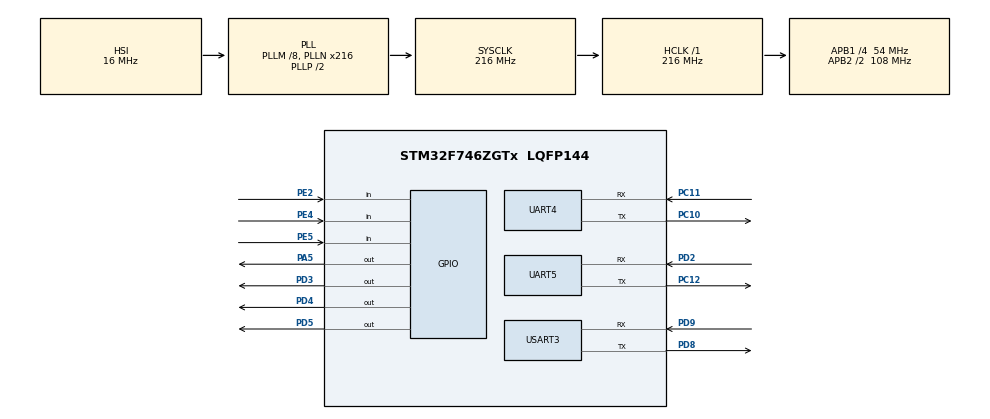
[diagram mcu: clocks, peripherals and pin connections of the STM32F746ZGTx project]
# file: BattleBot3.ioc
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CORTEX_M7.default_mode_Activation=1
Dma.Request0=USART3_RX
Dma.Request1=USART3_TX
Dma.Request2=UART5_RX
Dma.Request3=UART5_TX
Dma.Request4=UART4_RX
Dma.UART4_RX.4.Direction=DMA_PERIPH_TO_MEMORY
Dma.UART4_RX.4.FIFOMode=DMA_FIFOMODE_DISABLE
Dma.UART4_RX.4.Instance=DMA1_Stream2
Dma.UART4_RX.4.MemDataAlignment=DMA_MDATAALIGN_BYTE
Dma.UART4_RX.4.MemInc=DMA_MINC_ENABLE
Dma.UART4_RX.4.Mode=DMA_CIRCULAR
Dma.UART4_RX.4.PeriphDataAlignment=DMA_PDATAALIGN_BYTE
Dma.UART4_RX.4.PeriphInc=DMA_PINC_DISABLE
Dma.UART4_RX.4.Priority=DMA_PRIORITY_LOW
Dma.UART5_RX.2.Direction=DMA_PERIPH_TO_MEMORY
Dma.UART5_RX.2.FIFOMode=DMA_FIFOMODE_DISABLE
Dma.UART5_RX.2.Instance=DMA1_Stream0
Dma.UART5_RX.2.MemDataAlignment=DMA_MDATAALIGN_BYTE
Dma.UART5_RX.2.MemInc=DMA_MINC_ENABLE
Dma.UART5_RX.2.Mode=DMA_CIRCULAR
Dma.UART5_RX.2.PeriphDataAlignment=DMA_PDATAALIGN_BYTE
Dma.UART5_RX.2.PeriphInc=DMA_PINC_DISABLE
Dma.UART5_RX.2.Priority=DMA_PRIORITY_LOW
Dma.UART5_TX.3.Direction=DMA_MEMORY_TO_PERIPH
Dma.UART5_TX.3.FIFOMode=DMA_FIFOMODE_DISABLE
Dma.UART5_TX.3.Instance=DMA1_Stream7
Dma.UART5_TX.3.MemDataAlignment=DMA_MDATAALIGN_BYTE
Dma.UART5_TX.3.MemInc=DMA_MINC_ENABLE
Dma.UART5_TX.3.Mode=DMA_NORMAL
Dma.UART5_TX.3.PeriphDataAlignment=DMA_PDATAALIGN_BYTE
Dma.UART5_TX.3.PeriphInc=DMA_PINC_DISABLE
Dma.UART5_TX.3.Priority=DMA_PRIORITY_LOW
Dma.USART3_RX.0.Direction=DMA_PERIPH_TO_MEMORY
Dma.USART3_RX.0.FIFOMode=DMA_FIFOMODE_DISABLE
Dma.USART3_RX.0.Instance=DMA1_Stream1
Dma.USART3_RX.0.MemDataAlignment=DMA_MDATAALIGN_BYTE
Dma.USART3_RX.0.MemInc=DMA_MINC_ENABLE
Dma.USART3_RX.0.Mode=DMA_CIRCULAR
Dma.USART3_RX.0.PeriphDataAlignment=DMA_PDATAALIGN_BYTE
Dma.USART3_RX.0.PeriphInc=DMA_PINC_DISABLE
Dma.USART3_RX.0.Priority=DMA_PRIORITY_LOW
Dma.USART3_TX.1.Direction=DMA_MEMORY_TO_PERIPH
Dma.USART3_TX.1.FIFOMode=DMA_FIFOMODE_DISABLE
Dma.USART3_TX.1.Instance=DMA1_Stream4
Dma.USART3_TX.1.MemDataAlignment=DMA_MDATAALIGN_BYTE
Dma.USART3_TX.1.MemInc=DMA_MINC_ENABLE
Dma.USART3_TX.1.Mode=DMA_NORMAL
Dma.USART3_TX.1.PeriphDataAlignment=DMA_PDATAALIGN_BYTE
Dma.USART3_TX.1.PeriphInc=DMA_PINC_DISABLE
Dma.USART3_TX.1.Priority=DMA_PRIORITY_LOW
Mcu.Family=STM32F7
Mcu.Name=STM32F746ZGTx
Mcu.Package=LQFP144
NVIC.DMA1_Stream0_IRQn=true\:0\:0\:false\:false\:true\:false\:true\:true
NVIC.DMA1_Stream1_IRQn=true\:0\:0\:false\:false\:true\:false\:true\:true
NVIC.DMA1_Stream2_IRQn=true\:0\:0\:false\:false\:true\:false\:true\:true
NVIC.DMA1_Stream4_IRQn=true\:0\:0\:false\:false\:true\:false\:true\:true
NVIC.DMA1_Stream7_IRQn=true\:0\:0\:false\:false\:true\:false\:true\:true
NVIC.PriorityGroup=NVIC_PRIORITYGROUP_4
NVIC.UART4_IRQn=true\:0\:0\:false\:false\:true\:true\:true\:true
NVIC.UART5_IRQn=true\:0\:0\:false\:false\:true\:true\:true\:true
NVIC.USART3_IRQn=true\:0\:0\:false\:false\:true\:true\:true\:true
PA5.Signal=GPIO_Output
PC10.Mode=Asynchronous
PC10.Signal=UART4_TX
PC11.Mode=Asynchronous
PC11.Signal=UART4_RX
PC12.Mode=Asynchronous
PC12.Signal=UART5_TX
PD2.Mode=Asynchronous
PD2.Signal=UART5_RX
PD3.Signal=GPIO_Output
PD4.Signal=GPIO_Output
PD5.Signal=GPIO_Output
PD8.Mode=Asynchronous
PD8.Signal=USART3_TX
PD9.Mode=Asynchronous
PD9.Signal=USART3_RX
PE2.GPIO_PuPd=GPIO_PULLDOWN
PE2.Signal=GPIO_Input
PE4.GPIO_PuPd=GPIO_PULLDOWN
PE4.Signal=GPIO_Input
PE5.GPIO_PuPd=GPIO_PULLDOWN
PE5.Signal=GPIO_Input
ProjectManager.HeapSize=0x200
ProjectManager.StackSize=0x400
ProjectManager.TargetToolchain=STM32CubeIDE
RCC.AHBFreq_Value=216000000
RCC.APB1CLKDivider=RCC_HCLK_DIV4
RCC.APB1Freq_Value=54000000
RCC.APB1TimFreq_Value=108000000
RCC.APB2CLKDivider=RCC_HCLK_DIV2
RCC.APB2Freq_Value=108000000
RCC.APB2TimFreq_Value=216000000
RCC.CortexFreq_Value=27000000
RCC.Cortex_Div=SYSTICK_CLKSOURCE_HCLK_DIV8
RCC.HCLKFreq_Value=216000000
RCC.HSE_VALUE=25000000
RCC.HSI_VALUE=16000000
RCC.LSE_VALUE=32768
RCC.PLLM=8
RCC.PLLN=216
RCC.SYSCLKFreq_VALUE=216000000
RCC.SYSCLKSource=RCC_SYSCLKSOURCE_PLLCLK
RCC.USBFreq_Value=216000000
RCC.VCOOutputFreq_Value=432000000
USART3.VirtualMode-Asynchronous=VM_ASYNC
board=custom

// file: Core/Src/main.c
/* USER CODE BEGIN Header */
/**
  ******************************************************************************
  * @file           : main.c
  * @brief          : Main program body
  ******************************************************************************
  * @attention
  *
  * Copyright (c) 2025 STMicroelectronics.
  * All rights reserved.
  *
  * This software is licensed under terms that can be found in the LICENSE file
  * in the root directory of this software component.
  * If no LICENSE file comes with this software, it is provided AS-IS.
  *
  ******************************************************************************
  */
/* USER CODE END Header */
#include "main.h"

/* USER CODE BEGIN Includes */
#include "Serial.h"
#include "roboClaw.h"
#include <string.h>
#include <stdio.h>
/* USER CODE END Includes */

UART_HandleTypeDef huart4;
UART_HandleTypeDef huart5;
UART_HandleTypeDef huart3;
DMA_HandleTypeDef hdma_uart4_rx;
DMA_HandleTypeDef hdma_uart5_rx;
DMA_HandleTypeDef hdma_uart5_tx;
DMA_HandleTypeDef hdma_usart3_rx;
DMA_HandleTypeDef hdma_usart3_tx;

/* USER CODE BEGIN PV */
SERIAL_HandleTypeDef *hserial_uart5;
SERIAL_HandleTypeDef *hserial_uart3;

// mc1 = left drive  (0x80)
// mc2 = right drive (0x81)
// mc3 = weapon      (0x82)
RoboClaw_HandleTypeDef hroboclaw_mc1;
RoboClaw_HandleTypeDef hroboclaw_mc2;
RoboClaw_HandleTypeDef hroboclaw_mc3;

// RoboClaw addresses
//go into basicmicro and configure these
//also configure to packet serial
#define LEFT_RC   0x80
#define RIGHT_RC  0x81
#define WEAPON_RC 0x84

// Debug buffer
uint8_t debug_buff[20000];

//variables to read back
uint32_t m1_enc_cnt;
uint32_t m1_speed;
uint8_t  rc_status;
bool     valid;
/* Private variables ---------------------------------------------------------*/

/* USER CODE END PV */

void SystemClock_Config(void);
static void MPU_Config(void);
static void MX_GPIO_Init(void);
static void MX_DMA_Init(void);
static void MX_UART5_Init(void);
static void MX_USART3_UART_Init(void);
static void MX_UART4_Init(void);
/* USER CODE BEGIN PFP */
// 1. Wrap initialization into an init function
void RoboClaw_Init_All(void);
void Stop_All_Motors(void);
char Keypad_Scan(void);

//*************************************NEXT STEPS TO CODE*******************************************************************************
//1. instead of initalizing every roboclaw, wrap that into an init function so we can call those same lines in main over and over
//2. instead of having it just run for 3 seconds (HAL_Delay(3000)) interface with keypad
//3. take given keypad code and initialize the gpio pins for it in the ioc file
//4. import the pushed2release and release2pushed code files from 316 to detect held button presses
//5. move all the logic in main to the while loop so it keeps polling the keypad for action
//6. map the key states to the motor commands within the while loop (look at old keypad code for old while loops)
//   2 held down = ForwardM1/M2 on left_rc ForwardM1/M2 on right_rc
//   4 held down = BackwardM1/M2 on left_rc BackwardM1/M2 on right_rc
//   5 held down = ForwardM1 on weapon_rc
//   3 held down = left tank turn = BackwardsM1/M2 on left_rc ForwardM1/M2 on right_rc
//   6 held down = right tank turn = ForwardM1/M2 on right_rc BackwardM1/M2 on left_rc
//   **upon release of these buttons, send ForwardM1/M2 (0) as speed command**
//7. make sure key_down -> start motors, key_release -> stop motors
//8. not implementing simulatneous control (like the weapon and the drive cannot happen at the same time) (too hard for time given)
// **************************************************************************************************************************************

//************************************* possible errors while debugging today *********************************************************
//1. when calling ForwardM1 and ForwardM2, if both motors dont spin the same direction, that means one of the motors is wired backwards
//			- swap the wires going to M1A and M1B and re-test
//			- make sure that when calling FORWARD, both motors are spinning the same direction.
//2. make sure all roboclaws share a common ground with the STM (can be differnet ground pins on the STM)
//3. make sure all roboclaws are set to packet serial mode, 115200 baude rate, with correct addresses in decimal in basicmicro
//*************************************************************************************************************************************

/* USER CODE END PFP */

/* USER CODE BEGIN 0 */
#define MAX_SPEED 15 /* 0-127; keep low for a bench test */
#define WEAPON_SPEED 8

/* USER CODE END 0 */

int main(void)
{

  /* MPU Configuration--------------------------------------------------------*/
  MPU_Config();

  /* MCU Configuration--------------------------------------------------------*/

  /* Reset of all peripherals, Initializes the Flash interface and the Systick. */
  HAL_Init();

  /* Configure the system clock */
  SystemClock_Config();

  /* Initialize all configured peripherals */
  MX_GPIO_Init();
  MX_DMA_Init();
  MX_UART5_Init();
  MX_USART3_UART_Init();
  MX_UART4_Init();
  /* USER CODE BEGIN 2 */
    //initializing the printing
          hserial_uart3 = serial_init(&huart3);
          serial_write(hserial_uart3, (uint8_t*)"=== RoboClaw Control Start ===\r\n", 32);

          //initialize the uart for the roboclaw
          hserial_uart5 = serial_init(&huart5);

          // 1. Initializing roboclaws via wrapper function
          RoboClaw_Init_All();

          serial_write(hserial_uart3, (uint8_t*)"System Ready. Use Keypad to drive.\r\n", 36);

          // Variables for debouncing/state tracking
          char last_stable_key = 0;
          char current_detection = 0;
          int confidence = 0;
          const int THRESHOLD = 3; // Confidence threshold
  /* USER CODE END 2 */

  /* Infinite loop */
  /* USER CODE BEGIN WHILE */
            while (1)
            {
                // 5. Poll the keypad for action
                char raw_reading = Keypad_Scan();

                // 4. detect held button presses via confidence debouncing
                if (raw_reading == current_detection && raw_reading != 0) {
                    confidence++;
                } else {
                    confidence = 0;
                    current_detection = raw_reading;
                }

                // Update state if we hit threshold; if raw is 0, reset immediately to stop
                if (confidence >= THRESHOLD) {
                    last_stable_key = current_detection;
                } else if (raw_reading == 0) {
                    last_stable_key = 0;
                }

                // 6. map the key states to the motor commands within the while loop
                if (last_stable_key == '2') {

                	ForwardM1(&hroboclaw_mc1, MAX_SPEED); ForwardM2(&hroboclaw_mc1, MAX_SPEED);
                	ForwardM1(&hroboclaw_mc2, MAX_SPEED); ForwardM2(&hroboclaw_mc2, MAX_SPEED);
                }

                else if (last_stable_key == '8') {
                    // 8 = BACKWARD
                    BackwardM1(&hroboclaw_mc1, MAX_SPEED); BackwardM2(&hroboclaw_mc1, MAX_SPEED);
                    BackwardM1(&hroboclaw_mc2, MAX_SPEED); BackwardM2(&hroboclaw_mc2, MAX_SPEED);
                }
                else if (last_stable_key == '4') {
                    // 4 = TANK LEFT (Left side back, Right side forward)
                    BackwardM1(&hroboclaw_mc1, MAX_SPEED); BackwardM2(&hroboclaw_mc1, MAX_SPEED);
                    ForwardM1(&hroboclaw_mc2, MAX_SPEED);  ForwardM2(&hroboclaw_mc2, MAX_SPEED);
                }
                else if (last_stable_key == '6') {
                    // 6 = TANK RIGHT (Left side forward, Right side back)
                    ForwardM1(&hroboclaw_mc1, MAX_SPEED);  ForwardM2(&hroboclaw_mc1, MAX_SPEED);
                    BackwardM1(&hroboclaw_mc2, MAX_SPEED); BackwardM2(&hroboclaw_mc2, MAX_SPEED);
                }
                else if (last_stable_key == '5') {
                    // 5 = WEAPON
                    ForwardM2(&hroboclaw_mc3, WEAPON_SPEED);
                }
                else {
                    // No key or released = STOP
                    Stop_All_Motors();
                 }

                HAL_Delay(10); // Polling stability
            }
    /* USER CODE END WHILE */

}

void SystemClock_Config(void)
{
  RCC_OscInitTypeDef RCC_OscInitStruct = {0};
  RCC_ClkInitTypeDef RCC_ClkInitStruct = {0};

  /** Configure the main internal regulator output voltage
  */
  __HAL_RCC_PWR_CLK_ENABLE();
  __HAL_PWR_VOLTAGESCALING_CONFIG(PWR_REGULATOR_VOLTAGE_SCALE1);

  /** Initializes the RCC Oscillators according to the specified parameters
  * in the RCC_OscInitTypeDef structure.
  */
  RCC_OscInitStruct.OscillatorType = RCC_OSCILLATORTYPE_HSI;
  RCC_OscInitStruct.HSIState = RCC_HSI_ON;
  RCC_OscInitStruct.HSICalibrationValue = RCC_HSICALIBRATION_DEFAULT;
  RCC_OscInitStruct.PLL.PLLState = RCC_PLL_ON;
  RCC_OscInitStruct.PLL.PLLSource = RCC_PLLSOURCE_HSI;
  RCC_OscInitStruct.PLL.PLLM = 8;
  RCC_OscInitStruct.PLL.PLLN = 216;
  RCC_OscInitStruct.PLL.PLLP = RCC_PLLP_DIV2;
  RCC_OscInitStruct.PLL.PLLQ = 2;
  if (HAL_RCC_OscConfig(&RCC_OscInitStruct) != HAL_OK)
  {
    Error_Handler();
  }

  /** Activate the Over-Drive mode
  */
  if (HAL_PWREx_EnableOverDrive() != HAL_OK)
  {
    Error_Handler();
  }

  /** Initializes the CPU, AHB and APB buses clocks
  */
  RCC_ClkInitStruct.ClockType = RCC_CLOCKTYPE_HCLK|RCC_CLOCKTYPE_SYSCLK
                              |RCC_CLOCKTYPE_PCLK1|RCC_CLOCKTYPE_PCLK2;
  RCC_ClkInitStruct.SYSCLKSource = RCC_SYSCLKSOURCE_PLLCLK;
  RCC_ClkInitStruct.AHBCLKDivider = RCC_SYSCLK_DIV1;
  RCC_ClkInitStruct.APB1CLKDivider = RCC_HCLK_DIV4;
  RCC_ClkInitStruct.APB2CLKDivider = RCC_HCLK_DIV2;

  if (HAL_RCC_ClockConfig(&RCC_ClkInitStruct, FLASH_LATENCY_7) != HAL_OK)
  {
    Error_Handler();
  }
}

static void MX_UART4_Init(void)
{

  huart4.Instance = UART4;
  huart4.Init.BaudRate = 115200;
  huart4.Init.WordLength = UART_WORDLENGTH_8B;
  huart4.Init.StopBits = UART_STOPBITS_1;
  huart4.Init.Parity = UART_PARITY_NONE;
  huart4.Init.Mode = UART_MODE_TX_RX;
  huart4.Init.HwFlowCtl = UART_HWCONTROL_NONE;
  huart4.Init.OverSampling = UART_OVERSAMPLING_16;
  huart4.Init.OneBitSampling = UART_ONE_BIT_SAMPLE_DISABLE;
  huart4.AdvancedInit.AdvFeatureInit = UART_ADVFEATURE_NO_INIT;
  if (HAL_UART_Init(&huart4) != HAL_OK)
  {
    Error_Handler();
  }

}

static void MX_UART5_Init(void)
{

  huart5.Instance = UART5;
  huart5.Init.BaudRate = 115200;
  huart5.Init.WordLength = UART_WORDLENGTH_8B;
  huart5.Init.StopBits = UART_STOPBITS_1;
  huart5.Init.Parity = UART_PARITY_NONE;
  huart5.Init.Mode = UART_MODE_TX_RX;
  huart5.Init.HwFlowCtl = UART_HWCONTROL_NONE;
  huart5.Init.OverSampling = UART_OVERSAMPLING_16;
  huart5.Init.OneBitSampling = UART_ONE_BIT_SAMPLE_DISABLE;
  huart5.AdvancedInit.AdvFeatureInit = UART_ADVFEATURE_NO_INIT;
  if (HAL_UART_Init(&huart5) != HAL_OK)
  {
    Error_Handler();
  }

}

static void MX_USART3_UART_Init(void)
{

  huart3.Instance = USART3;
  huart3.Init.BaudRate = 115200;
  huart3.Init.WordLength = UART_WORDLENGTH_8B;
  huart3.Init.StopBits = UART_STOPBITS_1;
  huart3.Init.Parity = UART_PARITY_NONE;
  huart3.Init.Mode = UART_MODE_TX_RX;
  huart3.Init.HwFlowCtl = UART_HWCONTROL_NONE;
  huart3.Init.OverSampling = UART_OVERSAMPLING_16;
  huart3.Init.OneBitSampling = UART_ONE_BIT_SAMPLE_DISABLE;
  huart3.AdvancedInit.AdvFeatureInit = UART_ADVFEATURE_NO_INIT;
  if (HAL_UART_Init(&huart3) != HAL_OK)
  {
    Error_Handler();
  }

}

static void MX_DMA_Init(void)
{

  /* DMA controller clock enable */
  __HAL_RCC_DMA1_CLK_ENABLE();

  /* DMA interrupt init */
  /* DMA1_Stream0_IRQn interrupt configuration */
  HAL_NVIC_SetPriority(DMA1_Stream0_IRQn, 0, 0);
  HAL_NVIC_EnableIRQ(DMA1_Stream0_IRQn);
  /* DMA1_Stream1_IRQn interrupt configuration */
  HAL_NVIC_SetPriority(DMA1_Stream1_IRQn, 0, 0);
  HAL_NVIC_EnableIRQ(DMA1_Stream1_IRQn);
  /* DMA1_Stream2_IRQn interrupt configuration */
  HAL_NVIC_SetPriority(DMA1_Stream2_IRQn, 0, 0);
  HAL_NVIC_EnableIRQ(DMA1_Stream2_IRQn);
  /* DMA1_Stream4_IRQn interrupt configuration */
  HAL_NVIC_SetPriority(DMA1_Stream4_IRQn, 0, 0);
  HAL_NVIC_EnableIRQ(DMA1_Stream4_IRQn);
  /* DMA1_Stream7_IRQn interrupt configuration */
  HAL_NVIC_SetPriority(DMA1_Stream7_IRQn, 0, 0);
  HAL_NVIC_EnableIRQ(DMA1_Stream7_IRQn);

}

static void MX_GPIO_Init(void)
{
  GPIO_InitTypeDef GPIO_InitStruct = {0};

  /* GPIO Ports Clock Enable */
  __HAL_RCC_GPIOE_CLK_ENABLE();
  __HAL_RCC_GPIOA_CLK_ENABLE();
  __HAL_RCC_GPIOD_CLK_ENABLE();
  __HAL_RCC_GPIOC_CLK_ENABLE();

  /*Configure GPIO pin Output Level */
  HAL_GPIO_WritePin(GPIOA, GPIO_PIN_5, GPIO_PIN_RESET);

  /*Configure GPIO pin Output Level */
  HAL_GPIO_WritePin(GPIOD, GPIO_PIN_3|GPIO_PIN_4|GPIO_PIN_5, GPIO_PIN_RESET);

  /*Configure GPIO pins : PE2 PE4 PE5 */
  GPIO_InitStruct.Pin = GPIO_PIN_2|GPIO_PIN_4|GPIO_PIN_5;
  GPIO_InitStruct.Mode = GPIO_MODE_INPUT;
  GPIO_InitStruct.Pull = GPIO_PULLDOWN;
  HAL_GPIO_Init(GPIOE, &GPIO_InitStruct);

  /*Configure GPIO pin : PA5 */
  GPIO_InitStruct.Pin = GPIO_PIN_5;
  GPIO_InitStruct.Mode = GPIO_MODE_OUTPUT_PP;
  GPIO_InitStruct.Pull = GPIO_NOPULL;
  GPIO_InitStruct.Speed = GPIO_SPEED_FREQ_LOW;
  HAL_GPIO_Init(GPIOA, &GPIO_InitStruct);

  /*Configure GPIO pins : PD3 PD4 PD5 */
  GPIO_InitStruct.Pin = GPIO_PIN_3|GPIO_PIN_4|GPIO_PIN_5;
  GPIO_InitStruct.Mode = GPIO_MODE_OUTPUT_PP;
  GPIO_InitStruct.Pull = GPIO_NOPULL;
  GPIO_InitStruct.Speed = GPIO_SPEED_FREQ_LOW;
  HAL_GPIO_Init(GPIOD, &GPIO_InitStruct);

}

/* USER CODE BEGIN 4 */
/**
 * @brief  Scans 3x4 Keypad on PD3-6 (Rows) and PE2,4,5 (Cols)
 */
char Keypad_Scan(void) {
    uint16_t RowPins[] = {GPIO_PIN_3, GPIO_PIN_4, GPIO_PIN_5, GPIO_PIN_6};
    uint16_t ColPins[] = {GPIO_PIN_2, GPIO_PIN_4, GPIO_PIN_5};
    char map[4][3] = {{'1','2','3'},{'4','5','6'},{'7','8','9'},{'*','0','#'}};

    for (int r = 0; r < 4; r++) {
        HAL_GPIO_WritePin(GPIOD, GPIO_PIN_3|GPIO_PIN_4|GPIO_PIN_5|GPIO_PIN_6, GPIO_PIN_RESET);
        HAL_GPIO_WritePin(GPIOD, RowPins[r], GPIO_PIN_SET);
        HAL_Delay(1);

        for (int c = 0; c < 3; c++) {
            if (HAL_GPIO_ReadPin(GPIOE, ColPins[c]) == GPIO_PIN_SET) return map[r][c];
        }
    }
    return 0;
}

/**
 * @brief  Initializes all three RoboClaws
 */
void RoboClaw_Init_All(void) {
    hroboclaw_mc1.hserial = hserial_uart5; hroboclaw_mc1.packetserial_address = LEFT_RC;
    hroboclaw_mc2.hserial = hserial_uart5; hroboclaw_mc2.packetserial_address = RIGHT_RC;
    hroboclaw_mc3.hserial = hserial_uart5; hroboclaw_mc3.packetserial_address = WEAPON_RC;

    if (roboClaw_init(&hroboclaw_mc1) != ROBOCLAW_OK) {
        	  HAL_Delay(1000);
        	  serial_write(hserial_uart3, (uint8_t*)"ERROR: left side roboClaw init failed!\r\n", strlen("ERROR: left side roboClaw init failed!\r\n"));
          }
    if (roboClaw_init(&hroboclaw_mc2) != ROBOCLAW_OK) {
        	  HAL_Delay(1000);
        	  serial_write(hserial_uart3, (uint8_t*)"ERROR: right side roboClaw init failed!\r\n", strlen("ERROR: right side roboClaw init failed!\r\n"));
          }
    if (roboClaw_init(&hroboclaw_mc3) != ROBOCLAW_OK) {
        	  HAL_Delay(1000);
        	  serial_write(hserial_uart3, (uint8_t*)"ERROR: weapon roboClaw init failed!\r\n", strlen("ERROR: weapon roboClaw init failed!\r\n"));
          }
}

/**
 * @brief  Sends Stop command to all motors
 */
void Stop_All_Motors(void) {
    ForwardM1(&hroboclaw_mc1, 0); ForwardM2(&hroboclaw_mc1, 0);
    ForwardM1(&hroboclaw_mc2, 0); ForwardM2(&hroboclaw_mc2, 0);
    ForwardM2(&hroboclaw_mc3, 0);
}
/* USER CODE END 4 */

 /* MPU Configuration */

void MPU_Config(void)
{
  MPU_Region_InitTypeDef MPU_InitStruct = {0};

  /* Disables the MPU */
  HAL_MPU_Disable();

  /** Initializes and configures the Region and the memory to be protected
  */
  MPU_InitStruct.Enable = MPU_REGION_ENABLE;
  MPU_InitStruct.Number = MPU_REGION_NUMBER0;
  MPU_InitStruct.BaseAddress = 0x0;
  MPU_InitStruct.Size = MPU_REGION_SIZE_4GB;
  MPU_InitStruct.SubRegionDisable = 0x87;
  MPU_InitStruct.TypeExtField = MPU_TEX_LEVEL0;
  MPU_InitStruct.AccessPermission = MPU_REGION_NO_ACCESS;
  MPU_InitStruct.DisableExec = MPU_INSTRUCTION_ACCESS_DISABLE;
  MPU_InitStruct.IsShareable = MPU_ACCESS_SHAREABLE;
  MPU_InitStruct.IsCacheable = MPU_ACCESS_NOT_CACHEABLE;
  MPU_InitStruct.IsBufferable = MPU_ACCESS_NOT_BUFFERABLE;

  HAL_MPU_ConfigRegion(&MPU_InitStruct);
  /* Enables the MPU */
  HAL_MPU_Enable(MPU_PRIVILEGED_DEFAULT);

}

void Error_Handler(void)
{
  __disable_irq();
  while (1)
  {
  }
}
